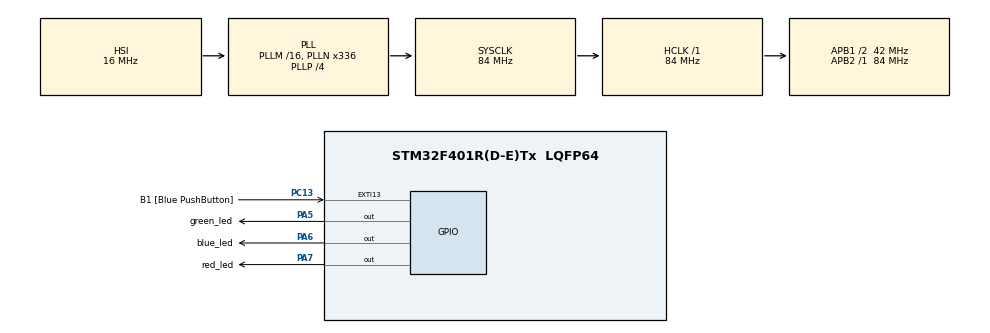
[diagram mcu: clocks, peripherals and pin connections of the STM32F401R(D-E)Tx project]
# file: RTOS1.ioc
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Mcu.Family=STM32F4
Mcu.Name=STM32F401R(D-E)Tx
Mcu.Package=LQFP64
NVIC.PriorityGroup=NVIC_PRIORITYGROUP_4
NVIC.TIM5_IRQn=true\:0\:0\:false\:false\:true\:false\:true\:true
NVIC.TimeBase=TIM5_IRQn
NVIC.TimeBaseIP=TIM5
PA0-WKUP.Mode=SYS_WakeUp0
PA0-WKUP.Signal=SYS_WKUP
PA13.GPIO_Label=TMS
PA13.Signal=SYS_JTMS-SWDIO
PA14.GPIO_Label=TCK
PA14.Signal=SYS_JTCK-SWCLK
PA2.GPIO_Label=USART_TX
PA2.GPIO_Mode=GPIO_MODE_AF_PP
PA2.GPIO_PuPd=GPIO_NOPULL
PA2.GPIO_Speed=GPIO_SPEED_FREQ_LOW
PA2.Signal=USART2_TX
PA3.GPIO_Label=USART_RX
PA3.GPIO_Mode=GPIO_MODE_AF_PP
PA3.GPIO_PuPd=GPIO_NOPULL
PA3.GPIO_Speed=GPIO_SPEED_FREQ_LOW
PA3.Signal=USART2_RX
PA5.GPIO_Label=green_led
PA5.GPIO_Mode=GPIO_MODE_OUTPUT_PP
PA5.GPIO_PuPd=GPIO_NOPULL
PA5.GPIO_Speed=GPIO_SPEED_FREQ_LOW
PA5.Signal=GPIO_Output
PA6.GPIO_Label=blue_led
PA6.Signal=GPIO_Output
PA7.GPIO_Label=red_led
PA7.Signal=GPIO_Output
PB3.GPIO_Label=SWO
PB3.Signal=SYS_JTDO-SWO
PC13-ANTI_TAMP.GPIO_Label=B1 [Blue PushButton]
PC13-ANTI_TAMP.GPIO_ModeDefaultEXTI=GPIO_MODE_IT_FALLING
PC13-ANTI_TAMP.GPIO_PuPd=GPIO_NOPULL
PC13-ANTI_TAMP.Signal=GPXTI13
PC14-OSC32_IN.Signal=RCC_OSC32_IN
PC15-OSC32_OUT.Signal=RCC_OSC32_OUT
PH0\ -\ OSC_IN.Signal=RCC_OSC_IN
PH1\ -\ OSC_OUT.Signal=RCC_OSC_OUT
ProjectManager.HeapSize=0x200
ProjectManager.StackSize=0x400
ProjectManager.TargetToolchain=STM32CubeIDE
RCC.AHBFreq_Value=84000000
RCC.APB1CLKDivider=RCC_HCLK_DIV2
RCC.APB1Freq_Value=42000000
RCC.APB1TimFreq_Value=84000000
RCC.APB2Freq_Value=84000000
RCC.APB2TimFreq_Value=84000000
RCC.CortexFreq_Value=84000000
RCC.HCLKFreq_Value=84000000
RCC.HSE_VALUE=8000000
RCC.HSI_VALUE=16000000
RCC.LSE_VALUE=32768
RCC.PLLN=336
RCC.PLLP=RCC_PLLP_DIV4
RCC.PLLQ=7
RCC.SYSCLKFreq_VALUE=84000000
RCC.SYSCLKSource=RCC_SYSCLKSOURCE_PLLCLK
RCC.VCOOutputFreq_Value=336000000
VP_SYS_VS_tim5.Mode=TIM5
board=NUCLEO-F401RE

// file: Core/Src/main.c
/* USER CODE BEGIN Header */
/**
  ******************************************************************************
  * @file           : main.c
  * @brief          : Main program body
  ******************************************************************************
  * @attention
  *
  * Copyright (c) 2026 STMicroelectronics.
  * All rights reserved.
  *
  * This software is licensed under terms that can be found in the LICENSE file
  * in the root directory of this software component.
  * If no LICENSE file comes with this software, it is provided AS-IS.
  *
  ******************************************************************************
  */
/* USER CODE END Header */
#include "main.h"

/* USER CODE BEGIN Includes */
#include<stdio.h>
#include "FreeRTOS.h"
#include "task.h"
/* USER CODE END Includes */

void SystemClock_Config(void);
static void MX_GPIO_Init(void);
/* USER CODE BEGIN PFP */
//static void task1_handler(void * parameters);
//static void task2_handler(void * parameters);

static void led_green_handler(void *pvParameters);
static void led_red_handler(void *pvParameters);
static void led_blue_handler(void *pvParameters);

/* USER CODE END PFP */

int main(void)
{

  /* USER CODE BEGIN 1 */

    TaskHandle_t task1_handle;
    TaskHandle_t task2_handle;
    TaskHandle_t task3_handle;
    BaseType_t xReturned;

  /* USER CODE END 1 */

  /* MCU Configuration--------------------------------------------------------*/

  /* Reset of all peripherals, Initializes the Flash interface and the Systick. */
  HAL_Init();

  /* Configure the system clock */
  SystemClock_Config();

  /* Initialize all configured peripherals */
  MX_GPIO_Init();
  /* USER CODE BEGIN 2 */

    xReturned = xTaskCreate(
        led_green_handler,                  /* Task function */
        "Green_led_task",                /* Task name */
        100,                    /* Stack size in words */
        NULL,     /* Parameter */
        2,                      /* Priority */
        &task1_handle           /* Task handle */
    );

    configASSERT(xReturned == pdPASS);

    xReturned = xTaskCreate(
            led_red_handler,                  /* Task function */
            "red_led_task",                /* Task name */
            100,                    /* Stack size in words */
            NULL,     /* Parameter */
            2,                      /* Priority */
            &task2_handle           /* Task handle */
        );

    configASSERT(xReturned == pdPASS);

    xReturned = xTaskCreate(
            led_blue_handler,                  /* Task function */
            "blue_led_task",                /* Task name */
            100,                    /* Stack size in words */
            NULL,     /* Parameter */
            2,                      /* Priority */
            &task3_handle           /* Task handle */
        );

    configASSERT(xReturned == pdPASS);

    /* Start FreeRTOS scheduler */
    vTaskStartScheduler();

  /* USER CODE END 2 */

  /* Infinite loop */
  while (1)
  {

  }
}

void SystemClock_Config(void)
{
  RCC_OscInitTypeDef RCC_OscInitStruct = {0};
  RCC_ClkInitTypeDef RCC_ClkInitStruct = {0};

  /** Configure the main internal regulator output voltage
  */
  __HAL_RCC_PWR_CLK_ENABLE();
  __HAL_PWR_VOLTAGESCALING_CONFIG(PWR_REGULATOR_VOLTAGE_SCALE2);

  /** Initializes the RCC Oscillators according to the specified parameters
  * in the RCC_OscInitTypeDef structure.
  */
  RCC_OscInitStruct.OscillatorType = RCC_OSCILLATORTYPE_HSI;
  RCC_OscInitStruct.HSIState = RCC_HSI_ON;
  RCC_OscInitStruct.HSICalibrationValue = RCC_HSICALIBRATION_DEFAULT;
  RCC_OscInitStruct.PLL.PLLState = RCC_PLL_ON;
  RCC_OscInitStruct.PLL.PLLSource = RCC_PLLSOURCE_HSI;
  RCC_OscInitStruct.PLL.PLLM = 16;
  RCC_OscInitStruct.PLL.PLLN = 336;
  RCC_OscInitStruct.PLL.PLLP = RCC_PLLP_DIV4;
  RCC_OscInitStruct.PLL.PLLQ = 7;
  if (HAL_RCC_OscConfig(&RCC_OscInitStruct) != HAL_OK)
  {
    Error_Handler();
  }

  /** Initializes the CPU, AHB and APB buses clocks
  */
  RCC_ClkInitStruct.ClockType = RCC_CLOCKTYPE_HCLK|RCC_CLOCKTYPE_SYSCLK
                              |RCC_CLOCKTYPE_PCLK1|RCC_CLOCKTYPE_PCLK2;
  RCC_ClkInitStruct.SYSCLKSource = RCC_SYSCLKSOURCE_PLLCLK;
  RCC_ClkInitStruct.AHBCLKDivider = RCC_SYSCLK_DIV1;
  RCC_ClkInitStruct.APB1CLKDivider = RCC_HCLK_DIV2;
  RCC_ClkInitStruct.APB2CLKDivider = RCC_HCLK_DIV1;

  if (HAL_RCC_ClockConfig(&RCC_ClkInitStruct, FLASH_LATENCY_2) != HAL_OK)
  {
    Error_Handler();
  }
}

static void MX_GPIO_Init(void)
{
  GPIO_InitTypeDef GPIO_InitStruct = {0};

  /* GPIO Ports Clock Enable */
  __HAL_RCC_GPIOC_CLK_ENABLE();
  __HAL_RCC_GPIOH_CLK_ENABLE();
  __HAL_RCC_GPIOA_CLK_ENABLE();
  __HAL_RCC_GPIOB_CLK_ENABLE();

  /*Configure GPIO pin Output Level */
  HAL_GPIO_WritePin(GPIOA, green_led_Pin|blue_led_Pin|red_led_Pin, GPIO_PIN_RESET);

  /*Configure GPIO pin : B1_Pin */
  GPIO_InitStruct.Pin = B1_Pin;
  GPIO_InitStruct.Mode = GPIO_MODE_IT_FALLING;
  GPIO_InitStruct.Pull = GPIO_NOPULL;
  HAL_GPIO_Init(B1_GPIO_Port, &GPIO_InitStruct);

  /*Configure GPIO pins : USART_TX_Pin USART_RX_Pin */
  GPIO_InitStruct.Pin = USART_TX_Pin|USART_RX_Pin;
  GPIO_InitStruct.Mode = GPIO_MODE_AF_PP;
  GPIO_InitStruct.Pull = GPIO_NOPULL;
  GPIO_InitStruct.Speed = GPIO_SPEED_FREQ_LOW;
  GPIO_InitStruct.Alternate = GPIO_AF7_USART2;
  HAL_GPIO_Init(GPIOA, &GPIO_InitStruct);

  /*Configure GPIO pins : green_led_Pin blue_led_Pin red_led_Pin */
  GPIO_InitStruct.Pin = green_led_Pin|blue_led_Pin|red_led_Pin;
  GPIO_InitStruct.Mode = GPIO_MODE_OUTPUT_PP;
  GPIO_InitStruct.Pull = GPIO_NOPULL;
  GPIO_InitStruct.Speed = GPIO_SPEED_FREQ_LOW;
  HAL_GPIO_Init(GPIOA, &GPIO_InitStruct);

}

/* USER CODE BEGIN 4 */
static void led_green_handler(void * parameters){
	while(1){

	printf("task1\n");
	HAL_GPIO_TogglePin(green_led_GPIO_Port, green_led_Pin);
	HAL_Delay(1000);
	taskYIELD();
	}

}

static void led_red_handler(void * parameters){
	while(1){

	printf("task2\n");
	HAL_GPIO_TogglePin(red_led_GPIO_Port, red_led_Pin);
	HAL_Delay(800);
	taskYIELD();
	}

}

static void led_blue_handler(void * parameters){
	while(1){

	printf("task3\n");
	HAL_GPIO_TogglePin(blue_led_GPIO_Port, blue_led_Pin);
	HAL_Delay(400);
	taskYIELD();
	}

}

/* USER CODE END 4 */

void HAL_TIM_PeriodElapsedCallback(TIM_HandleTypeDef *htim)
{
  if (htim->Instance == TIM5)
  {
    HAL_IncTick();
  }
}

void Error_Handler(void)
{
  __disable_irq();
  while (1)
  {
  }
}
